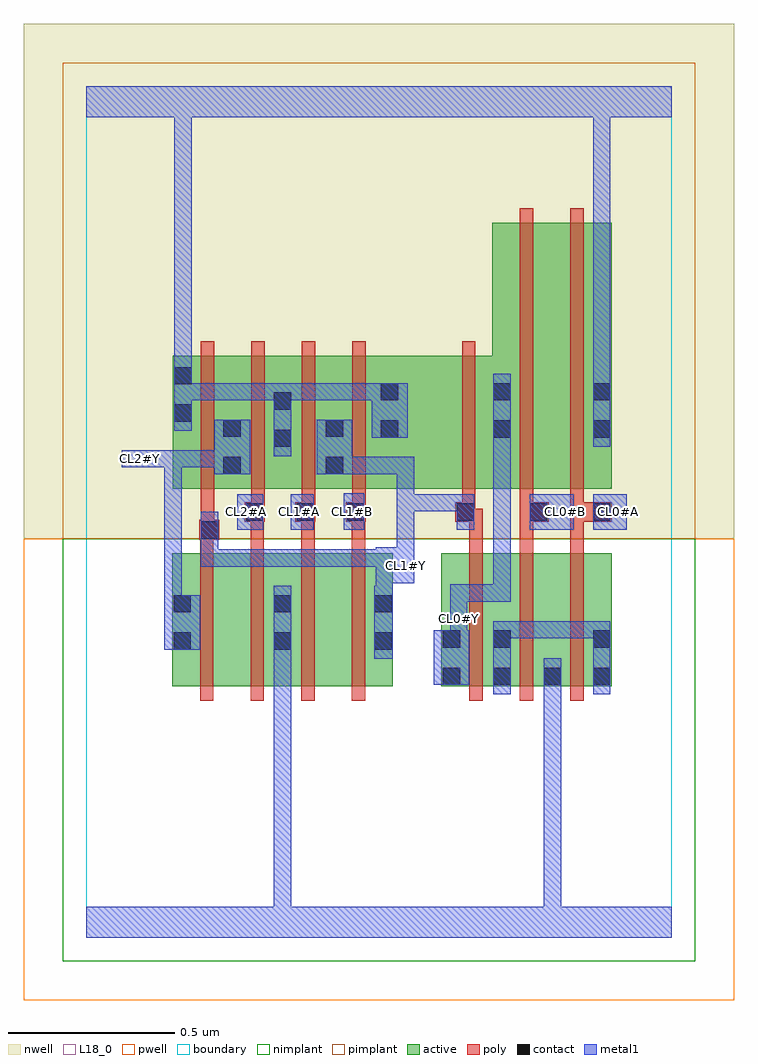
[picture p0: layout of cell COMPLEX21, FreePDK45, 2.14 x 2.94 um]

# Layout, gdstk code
import gdstk
lib = gdstk.Library(unit=1e-6, precision=1e-09)
def R(c, l, rs):  # rectangles x0, y0, x1, y1
    for r in rs: c.add(gdstk.rectangle(r[:2], r[2:], *l))
def A(c, l, x, y, w, h, nx, ny, dx, dy):  # array of equal rectangles
    R(c, l, [(x+i*dx, y+j*dy, x+i*dx+w, y+j*dy+h) for i in range(nx) for j in range(ny)])
active = (1, 0)
pwell = (2, 0)
nwell = (3, 0)
nimplant = (4, 0)
pimplant = (5, 0)
poly = (9, 0)
contact = (10, 0)
metal1 = (11, 0)
L18_0 = (18, 0)
boundary = (235, 0)

complex21 = lib.new_cell('COMPLEX21')
A(complex21, active, 0.258, 0.756, 0.06, 0.4, 3, 1, 0.302, 0)
R(complex21, active, [(0.258,0.756,0.438,1.156), (0.438,0.756,0.62,1.156), (0.56,0.756,0.742,1.156), (0.742,0.756,0.922,1.156), (1.068,0.756,1.128,1.156), (1.068,0.756,1.28,1.156), (1.22,0.756,1.432,1.156), (1.22,0.756,1.28,0.928), (1.372,0.756,1.58,1.156), (1.372,0.756,1.432,0.816), (1.52,0.756,1.58,1.156), (0.26,1.35,0.468,1.75), (0.26,1.35,0.32,1.72), (0.408,1.35,0.62,1.75), (0.56,1.35,0.62,1.75), (0.56,1.35,0.776,1.75), (0.716,1.35,0.942,1.75), (0.716,1.35,0.776,1.644), (0.882,1.35,0.942,1.75), (0.882,1.35,1.28,1.75), (1.22,1.35,1.28,2.15), (1.22,1.35,1.4,2.15), (1.4,1.35,1.58,2.15), (1.52,1.35,1.58,2.15), (0.408,1.39,0.468,1.644)])
R(complex21, pwell, [(-0.188,-0.188,1.948,1.2)])
R(complex21, nwell, [(-0.188,1.2,1.948,2.748)])
R(complex21, nimplant, [(-0.072,-0.072,1.832,1.2)])
R(complex21, pimplant, [(-0.072,1.2,1.832,2.632)])
A(complex21, poly, 0.342, 0.712, 0.04, 0.488, 4, 1, 0.152, 0)
A(complex21, poly, 1.152, 0.712, 0.04, 0.488, 3, 1, 0.152, 0)
A(complex21, poly, 0.494, 1.16, 0.04, 0.13, 3, 1, 0.152, 0)
A(complex21, poly, 1.152, 1.16, 0.04, 0.13, 3, 1, 0.152, 0)
A(complex21, poly, 0.476, 1.25, 0.06, 0.06, 3, 1, 0.152, 0)
A(complex21, poly, 0.496, 1.27, 0.04, 0.076, 3, 1, 0.152, 0)
A(complex21, poly, 0.344, 1.306, 0.04, 0.488, 4, 1, 0.152, 0)
R(complex21, poly, [(0.342,1.16,0.382,1.236), (0.34,1.196,0.4,1.256), (0.344,1.216,0.384,1.256), (0.344,1.216,0.384,1.256), (0.344,1.216,0.384,1.346), (0.494,1.25,0.534,1.29), (0.494,1.25,0.534,1.29), (0.646,1.25,0.686,1.29), (0.646,1.25,0.686,1.29), (0.798,1.25,0.838,1.29), (0.798,1.25,0.838,1.29), (1.11,1.25,1.17,1.31), (1.13,1.25,1.17,1.29), (1.13,1.25,1.192,1.29), (1.304,1.25,1.39,1.31), (1.456,1.25,1.58,1.31), (1.13,1.27,1.17,1.346), (1.304,1.27,1.344,1.346), (1.304,1.27,1.344,1.31), (1.304,1.27,1.344,1.31), (1.456,1.27,1.496,1.346), (1.456,1.27,1.496,1.31), (1.456,1.27,1.496,1.31), (1.13,1.306,1.17,1.794), (1.304,1.306,1.344,2.194), (1.456,1.306,1.496,2.194)])
A(complex21, contact, 1.072, 0.76, 0.052, 0.052, 3, 1, 0.152, 0)
A(complex21, contact, 0.262, 0.866, 0.052, 0.052, 3, 2, 0.302, 0.112)
A(complex21, contact, 0.48, 1.254, 0.052, 0.052, 3, 1, 0.152, 0)
R(complex21, contact, [(1.524,0.76,1.576,0.812), (1.072,0.872,1.124,0.924), (1.224,0.872,1.276,0.924), (1.524,0.872,1.576,0.924), (0.344,1.2,0.396,1.252), (1.114,1.254,1.166,1.306), (1.334,1.254,1.386,1.306), (1.524,1.254,1.576,1.306), (0.412,1.394,0.464,1.446), (0.72,1.394,0.772,1.446), (0.564,1.476,0.616,1.528), (0.886,1.504,0.938,1.556), (1.224,1.504,1.276,1.556), (1.524,1.504,1.576,1.556), (0.412,1.506,0.464,1.558), (0.72,1.506,0.772,1.558), (0.264,1.552,0.316,1.604), (0.564,1.588,0.616,1.64), (0.886,1.616,0.938,1.668), (1.224,1.616,1.276,1.668), (1.524,1.616,1.576,1.668), (0.264,1.664,0.316,1.716)])
A(complex21, metal1, 0.344, 1.116, 0.162, 0.052, 3, 1, 0.11, 0)
R(complex21, metal1, [(0,0,1.76,0.092), (0.564,0.04,0.616,0.092), (0.564,0.04,0.616,0.092), (0.564,0.04,0.616,0.89), (1.376,0.04,1.428,0.784), (1.224,0.732,1.276,0.952), (1.376,0.732,1.428,0.784), (1.376,0.732,1.428,0.784), (1.376,0.732,1.428,0.784), (1.376,0.732,1.428,0.784), (1.376,0.732,1.428,0.784), (1.376,0.732,1.428,0.784), (1.376,0.732,1.428,0.784), (1.376,0.732,1.428,0.784), (1.376,0.732,1.428,0.784), (1.376,0.732,1.428,0.784), (1.376,0.732,1.428,0.784), (1.376,0.732,1.428,0.784), (1.376,0.732,1.428,0.84), (1.524,0.732,1.576,0.952), (1.044,0.76,1.152,0.924), (0.564,0.838,0.616,0.89), (0.564,0.838,0.616,0.89), (0.564,0.838,0.616,0.89), (0.564,0.838,0.616,0.89), (0.564,0.838,0.616,0.89), (0.564,0.838,0.616,0.89), (0.564,0.838,0.616,0.89), (0.564,0.838,0.616,0.89), (0.564,0.838,0.616,0.89), (0.564,0.838,0.616,0.89), (0.564,0.838,0.616,1.058), (0.866,0.838,0.922,1.058), (0.234,0.866,0.342,1.03), (1.094,0.872,1.146,0.958), (1.224,0.9,1.276,0.952), (1.224,0.9,1.276,0.952), (1.224,0.9,1.45,0.952), (1.398,0.9,1.45,0.952), (1.398,0.9,1.45,0.952), (1.398,0.9,1.45,0.952), (1.398,0.9,1.576,0.952), (1.094,0.906,1.146,1.062), (0.234,0.978,0.286,1.466), (0.87,1.006,0.922,1.118), (1.094,1.01,1.146,1.062), (1.094,1.01,1.146,1.062), (1.094,1.01,1.276,1.062), (1.224,1.01,1.276,1.062), (1.224,1.01,1.276,1.528), (0.87,1.066,0.986,1.174), (0.344,1.116,0.396,1.28), (0.454,1.116,0.506,1.168), (0.454,1.116,0.506,1.168), (0.454,1.116,0.506,1.168), (0.564,1.116,0.616,1.168), (0.564,1.116,0.616,1.168), (0.564,1.116,0.616,1.168), (0.674,1.116,0.726,1.168), (0.674,1.116,0.726,1.168), (0.674,1.116,0.726,1.168), (0.674,1.116,0.922,1.168), (0.934,1.122,0.986,1.334), (0.454,1.226,0.532,1.334), (0.614,1.226,0.684,1.334), (0.774,1.226,0.836,1.336), (1.114,1.226,1.166,1.334), (1.334,1.226,1.466,1.334), (1.524,1.226,1.626,1.334), (0.934,1.282,0.986,1.334), (0.934,1.282,0.986,1.334), (0.934,1.282,0.986,1.334), (0.934,1.282,1.166,1.334), (0.934,1.282,0.986,1.446), (0.384,1.394,0.492,1.558), (0.692,1.394,0.8,1.558), (0.748,1.394,0.8,1.446), (0.748,1.394,0.8,1.446), (0.748,1.394,0.986,1.446), (0.934,1.394,0.986,1.446), (0.106,1.414,0.286,1.466), (0.234,1.414,0.286,1.466), (0.234,1.414,0.286,1.466), (0.234,1.414,0.286,1.466), (0.234,1.414,0.286,1.466), (0.234,1.414,0.286,1.466), (0.234,1.414,0.286,1.466), (0.234,1.414,0.436,1.466), (0.564,1.448,0.616,1.668), (1.224,1.476,1.276,1.528), (1.224,1.476,1.276,1.528), (1.224,1.476,1.276,1.696), (1.524,1.476,1.576,1.696), (0.858,1.504,0.966,1.668), (0.264,1.524,0.316,1.744), (0.264,1.616,0.316,1.668), (0.264,1.616,0.316,1.668), (0.264,1.616,0.506,1.668), (0.454,1.616,0.506,1.668), (0.454,1.616,0.506,1.668), (0.454,1.616,0.506,1.668), (0.454,1.616,0.616,1.668), (0.564,1.616,0.616,1.668), (0.564,1.616,0.616,1.668), (0.564,1.616,0.726,1.668), (0.674,1.616,0.726,1.668), (0.674,1.616,0.726,1.668), (0.674,1.616,0.726,1.668), (0.674,1.616,0.91,1.668), (1.524,1.644,1.576,1.696), (1.524,1.644,1.576,1.696), (1.524,1.644,1.576,1.696), (1.524,1.644,1.576,1.696), (1.524,1.644,1.576,2.52), (0.264,1.692,0.316,1.744), (0.264,1.692,0.316,1.744), (0.264,1.692,0.316,1.744), (0.264,1.692,0.316,1.744), (0.264,1.692,0.316,2.52), (0,2.468,1.76,2.56), (0.264,2.468,0.316,2.52), (0.264,2.468,0.316,2.52), (0.264,2.468,0.316,2.52), (0.264,2.468,0.316,2.52), (0.264,2.468,0.316,2.52), (0.264,2.468,0.316,2.52), (0.264,2.468,0.316,2.52), (0.264,2.468,0.316,2.52), (0.264,2.468,0.316,2.52), (0.264,2.468,0.316,2.52), (0.264,2.468,0.316,2.52), (0.264,2.468,0.316,2.52), (1.524,2.468,1.576,2.52), (1.524,2.468,1.576,2.52), (1.524,2.468,1.576,2.52), (1.524,2.468,1.576,2.52)])
A(complex21, L18_0, 0.344, 1.116, 0.162, 0.052, 3, 1, 0.11, 0)
A(complex21, L18_0, 0.454, 1.254, 0.052, 0.052, 3, 1, 0.16, 0)
R(complex21, L18_0, [(0,0,1.76,0.092), (0.564,0.04,0.616,0.092), (0.564,0.04,0.616,0.092), (0.564,0.04,0.616,0.89), (1.376,0.04,1.428,0.784), (1.376,0.732,1.428,0.784), (1.376,0.732,1.428,0.784), (1.376,0.732,1.428,0.784), (1.376,0.732,1.428,0.784), (1.376,0.732,1.428,0.784), (1.376,0.732,1.428,0.784), (1.376,0.732,1.428,0.784), (1.376,0.732,1.428,0.784), (1.376,0.732,1.428,0.784), (1.376,0.732,1.428,0.784), (1.376,0.732,1.428,0.784), (1.376,0.732,1.428,0.784), (1.376,0.732,1.428,0.84), (1.044,0.76,1.152,0.924), (0.564,0.838,0.616,0.89), (0.564,0.838,0.616,0.89), (0.564,0.838,0.616,0.89), (0.564,0.838,0.616,0.89), (0.564,0.838,0.616,0.89), (0.564,0.838,0.616,0.89), (0.564,0.838,0.616,0.89), (0.564,0.838,0.616,0.89), (0.564,0.838,0.616,0.89), (0.564,0.838,0.616,0.89), (0.564,0.838,0.616,1.058), (0.866,0.838,0.922,1.058), (0.234,0.866,0.342,1.03), (1.094,0.872,1.146,0.958), (1.094,0.906,1.146,1.062), (1.094,0.934,1.146,0.986), (0.234,0.978,0.286,1.466), (0.87,1.006,0.922,1.118), (1.094,1.01,1.146,1.062), (1.094,1.01,1.146,1.062), (1.094,1.01,1.276,1.062), (1.224,1.01,1.276,1.062), (1.224,1.01,1.276,1.528), (0.87,1.066,0.986,1.174), (0.934,1.094,0.986,1.146), (0.344,1.116,0.396,1.28), (0.454,1.116,0.506,1.168), (0.454,1.116,0.506,1.168), (0.454,1.116,0.506,1.168), (0.564,1.116,0.616,1.168), (0.564,1.116,0.616,1.168), (0.564,1.116,0.616,1.168), (0.674,1.116,0.726,1.168), (0.674,1.116,0.726,1.168), (0.674,1.116,0.726,1.168), (0.674,1.116,0.922,1.168), (0.934,1.122,0.986,1.334), (0.454,1.226,0.532,1.334), (0.614,1.226,0.684,1.334), (0.774,1.226,0.836,1.336), (1.114,1.226,1.166,1.334), (1.334,1.226,1.466,1.334), (1.524,1.226,1.626,1.334), (1.414,1.254,1.466,1.306), (1.574,1.254,1.626,1.306), (0.934,1.282,0.986,1.334), (0.934,1.282,0.986,1.334), (0.934,1.282,0.986,1.334), (0.934,1.282,0.986,1.446), (0.934,1.282,1.166,1.334), (0.384,1.394,0.492,1.558), (0.692,1.394,0.8,1.558), (0.748,1.394,0.8,1.446), (0.748,1.394,0.8,1.446), (0.748,1.394,0.986,1.446), (0.934,1.394,0.986,1.446), (0.106,1.414,0.286,1.466), (0.134,1.414,0.186,1.466), (0.234,1.414,0.286,1.466), (0.234,1.414,0.286,1.466), (0.234,1.414,0.286,1.466), (0.234,1.414,0.286,1.466), (0.234,1.414,0.286,1.466), (0.234,1.414,0.286,1.466), (0.234,1.414,0.436,1.466), (0.564,1.448,0.616,1.668), (1.224,1.476,1.276,1.528), (1.224,1.476,1.276,1.528), (1.224,1.476,1.276,1.696), (1.524,1.476,1.576,1.696), (0.858,1.504,0.966,1.668), (0.264,1.524,0.316,1.744), (0.264,1.616,0.316,1.668), (0.264,1.616,0.316,1.668), (0.264,1.616,0.506,1.668), (0.454,1.616,0.506,1.668), (0.454,1.616,0.506,1.668), (0.454,1.616,0.506,1.668), (0.454,1.616,0.616,1.668), (0.564,1.616,0.616,1.668), (0.564,1.616,0.616,1.668), (0.564,1.616,0.726,1.668), (0.674,1.616,0.726,1.668), (0.674,1.616,0.726,1.668), (0.674,1.616,0.726,1.668), (0.674,1.616,0.91,1.668), (1.524,1.644,1.576,1.696), (1.524,1.644,1.576,1.696), (1.524,1.644,1.576,1.696), (1.524,1.644,1.576,1.696), (1.524,1.644,1.576,2.52), (0.264,1.692,0.316,1.744), (0.264,1.692,0.316,1.744), (0.264,1.692,0.316,1.744), (0.264,1.692,0.316,1.744), (0.264,1.692,0.316,2.52), (0,2.468,1.76,2.56), (0.264,2.468,0.316,2.52), (0.264,2.468,0.316,2.52), (0.264,2.468,0.316,2.52), (0.264,2.468,0.316,2.52), (0.264,2.468,0.316,2.52), (0.264,2.468,0.316,2.52), (0.264,2.468,0.316,2.52), (0.264,2.468,0.316,2.52), (0.264,2.468,0.316,2.52), (0.264,2.468,0.316,2.52), (0.264,2.468,0.316,2.52), (0.264,2.468,0.316,2.52), (1.524,2.468,1.576,2.52), (1.524,2.468,1.576,2.52), (1.524,2.468,1.576,2.52), (1.524,2.468,1.576,2.52)])
R(complex21, boundary, [(0,0,1.76,2.56)])
complex21.add(gdstk.Label('CL0#A', (1.6,1.28), layer=11, texttype=0))
complex21.add(gdstk.Label('CL0#B', (1.44,1.28), layer=11, texttype=0))
complex21.add(gdstk.Label('CL0#Y', (1.12,0.96), layer=11, texttype=0))
complex21.add(gdstk.Label('CL1#A', (0.64,1.28), layer=11, texttype=0))
complex21.add(gdstk.Label('CL1#B', (0.8,1.28), layer=11, texttype=0))
complex21.add(gdstk.Label('CL1#Y', (0.96,1.12), layer=11, texttype=0))
complex21.add(gdstk.Label('CL2#A', (0.48,1.28), layer=11, texttype=0))
complex21.add(gdstk.Label('CL2#Y', (0.16,1.44), layer=11, texttype=0))

lib.write_gds('COMPLEX21.gds')
